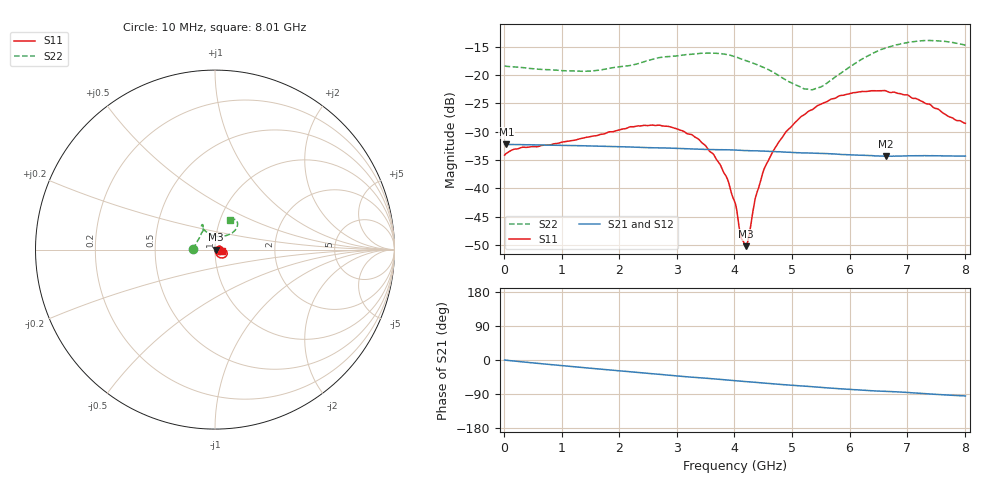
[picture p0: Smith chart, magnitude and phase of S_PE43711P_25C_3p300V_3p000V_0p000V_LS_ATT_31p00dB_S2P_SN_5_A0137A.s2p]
! Device ID: PE43711P
! File Path: z:\PE43711P\CHAR_NOM_04282014\AMB\3p300\LS_ATT_31p00dB\PE43711P_AMB_3p300V_3p000V_0p000V_LS_ATT_31p00dB_S2P_SN_5_A0137A.s2p
! Serial: 5
! Lot: A0137A
! Temp: 25C
! VDD: 3.300
! VSS: 0.000
! Control_Hi: 3.000
! Control_Lo: 0.000
! Attenuation Step: 31.00dB
! Port 1: RF1
! Port 2: RF2
! ThroughPath:1-2
! IDD: 0.000128296
! ISS: -8.97e-008
#  Hz  S  RI  R  50
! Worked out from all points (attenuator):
!   801 points, 10 MHz to 8.01 GHz, reference 50 ohm
!   highest |S21| = -32.26 dB at 40 MHz (marker M1); lowest = -34.4 dB at 6.63 GHz (marker M2)
!   lowest |S11| = -50.2 dB at 4.2 GHz (marker M3), VSWR 1.01, Z = 50.3 - j0.127 ohm
!   |S11| at or under -10 dB: start of sweep to end of sweep
!   |S22| runs from -22.6 to -13.9 dB; largest |S21 - S12| = 0.0001
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1e7  0.0196 0.000551  0.0244 -7.67e-05  0.0244 -0.000114  -0.1201 0.000945
4e7  0.0203 0.00112  0.0244 -0.000263  0.0244 -0.000276  -0.1193 0.0026
1.35e9  0.0266 0.00714  0.0224 -0.00798  0.0224 -0.008  -0.0926 0.0553
2.2e9  0.0326 0.0125  0.0197 -0.0121  0.0197 -0.0121  -0.0695 0.0998
2.68e9  0.032 0.0167  0.018 -0.0139  0.018 -0.0139  -0.0661 0.1256
3.25e9  0.0236 0.0184  0.0157 -0.0157  0.0157 -0.0158  -0.0673 0.1369
3.49e9  0.0173 0.0166  0.0147 -0.0164  0.0148 -0.0163  -0.0708 0.139
3.76e9  0.0102 0.0122  0.0137 -0.0171  0.0137 -0.0171  -0.0744 0.1354
3.88e9  0.00753 0.00936  0.0132 -0.0174  0.0132 -0.0174  -0.0749 0.1311
4.01e9  0.00522 0.00538  0.0126 -0.0177  0.0126 -0.0177  -0.074 0.1249
4.12e9  0.00342 0.00113  0.0121 -0.0179  0.0121 -0.0179  -0.0707 0.119
4.2e9  0.00281 -0.00126  0.0117 -0.0181  0.0118 -0.0181  -0.0676 0.1157
4.25e9  0.00223 -0.00302  0.0115 -0.0181  0.0115 -0.0182  -0.0654 0.1138
4.38e9  0.00175 -0.00868  0.011 -0.0184  0.011 -0.0184  -0.0599 0.1087
4.55e9  0.00277 -0.0159  0.0102 -0.0186  0.0102 -0.0187  -0.0516 0.1016
4.9e9  0.00873 -0.0305  0.00863 -0.019  0.00862 -0.019  -0.0279 0.0854
5.35e9  0.0243 -0.043  0.00685 -0.0192  0.00683 -0.0193  0.0137 0.0728
5.84e9  0.0473 -0.0459  0.00482 -0.0193  0.00483 -0.0193  0.0662 0.0795
6.63e9  0.0685 -0.0239  0.00239 -0.019  0.00242 -0.0191  0.1215 0.1235
6.68e9  0.0673 -0.0215  0.00229 -0.0191  0.00233 -0.0191  0.1227 0.1273
7.34e9  0.0554 -0.00457  0.000327 -0.0194  0.000349 -0.0194  0.1173 0.1641
8.01e9  0.0368 -0.0065  -0.00162 -0.0192  -0.00162 -0.0192  0.0835 0.163
